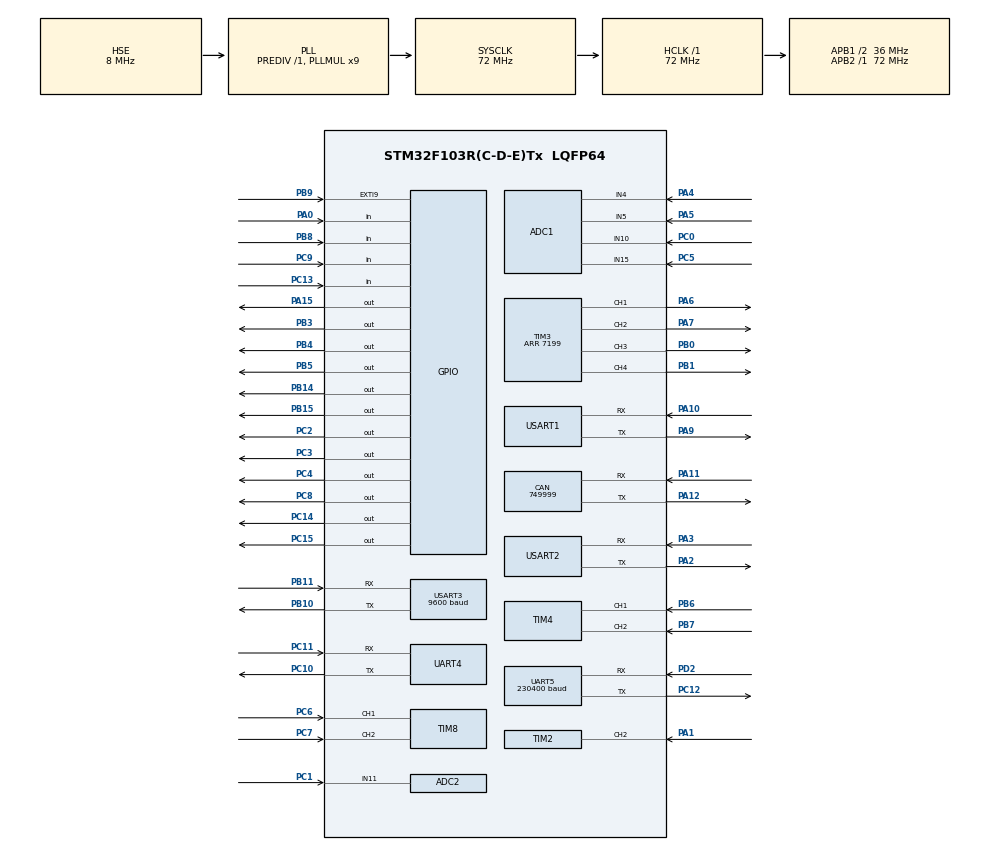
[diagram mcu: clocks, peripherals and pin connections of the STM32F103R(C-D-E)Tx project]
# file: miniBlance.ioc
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ADC1.Channel-3\#ChannelRegularConversion=ADC_CHANNEL_10
ADC1.NbrOfConversionFlag=1
ADC1.Rank-3\#ChannelRegularConversion=1
ADC1.SamplingTime-3\#ChannelRegularConversion=ADC_SAMPLETIME_1CYCLE_5
ADC1.master=1
ADC2.Channel-1\#ChannelRegularConversion=ADC_CHANNEL_11
ADC2.EnableInjectedConversion=DISABLE
ADC2.NbrOfConversionFlag=1
ADC2.Rank-1\#ChannelRegularConversion=1
ADC2.SamplingTime-1\#ChannelRegularConversion=ADC_SAMPLETIME_1CYCLE_5
CAN.CalculateBaudRate=749999
CAN.CalculateTimeBit=1333
CAN.CalculateTimeQuantum=444.44444444444446
Dma.Request0=UART4_RX
Dma.Request1=UART4_TX
Dma.Request2=USART2_RX
Dma.Request3=USART2_TX
Dma.UART4_RX.0.Direction=DMA_PERIPH_TO_MEMORY
Dma.UART4_RX.0.Instance=DMA2_Channel3
Dma.UART4_RX.0.MemDataAlignment=DMA_MDATAALIGN_BYTE
Dma.UART4_RX.0.MemInc=DMA_MINC_ENABLE
Dma.UART4_RX.0.Mode=DMA_CIRCULAR
Dma.UART4_RX.0.PeriphDataAlignment=DMA_PDATAALIGN_BYTE
Dma.UART4_RX.0.PeriphInc=DMA_PINC_DISABLE
Dma.UART4_RX.0.Priority=DMA_PRIORITY_LOW
Dma.UART4_TX.1.Direction=DMA_MEMORY_TO_PERIPH
Dma.UART4_TX.1.Instance=DMA2_Channel5
Dma.UART4_TX.1.MemDataAlignment=DMA_MDATAALIGN_BYTE
Dma.UART4_TX.1.MemInc=DMA_MINC_ENABLE
Dma.UART4_TX.1.Mode=DMA_NORMAL
Dma.UART4_TX.1.PeriphDataAlignment=DMA_PDATAALIGN_BYTE
Dma.UART4_TX.1.PeriphInc=DMA_PINC_DISABLE
Dma.UART4_TX.1.Priority=DMA_PRIORITY_LOW
Dma.USART2_RX.2.Direction=DMA_PERIPH_TO_MEMORY
Dma.USART2_RX.2.Instance=DMA1_Channel6
Dma.USART2_RX.2.MemDataAlignment=DMA_MDATAALIGN_BYTE
Dma.USART2_RX.2.MemInc=DMA_MINC_ENABLE
Dma.USART2_RX.2.Mode=DMA_CIRCULAR
Dma.USART2_RX.2.PeriphDataAlignment=DMA_PDATAALIGN_BYTE
Dma.USART2_RX.2.PeriphInc=DMA_PINC_DISABLE
Dma.USART2_RX.2.Priority=DMA_PRIORITY_LOW
Dma.USART2_TX.3.Direction=DMA_MEMORY_TO_PERIPH
Dma.USART2_TX.3.Instance=DMA1_Channel7
Dma.USART2_TX.3.MemDataAlignment=DMA_MDATAALIGN_BYTE
Dma.USART2_TX.3.MemInc=DMA_MINC_ENABLE
Dma.USART2_TX.3.Mode=DMA_NORMAL
Dma.USART2_TX.3.PeriphDataAlignment=DMA_PDATAALIGN_BYTE
Dma.USART2_TX.3.PeriphInc=DMA_PINC_DISABLE
Dma.USART2_TX.3.Priority=DMA_PRIORITY_LOW
Mcu.Family=STM32F1
Mcu.Name=STM32F103R(C-D-E)Tx
Mcu.Package=LQFP64
NVIC.ADC1_2_IRQn=true\:0\:0\:false\:false\:true\:true\:true\:true
NVIC.DMA1_Channel6_IRQn=true\:0\:0\:false\:false\:true\:true\:true\:true
NVIC.DMA1_Channel7_IRQn=true\:0\:0\:false\:false\:true\:true\:true\:true
NVIC.DMA2_Channel3_IRQn=true\:0\:0\:false\:false\:true\:true\:true\:true
NVIC.DMA2_Channel4_5_IRQn=true\:0\:0\:false\:false\:true\:true\:true\:true
NVIC.EXTI9_5_IRQn=true\:2\:1\:true\:false\:true\:true\:true\:true
NVIC.PriorityGroup=NVIC_PRIORITYGROUP_2
NVIC.TIM2_IRQn=true\:0\:0\:false\:false\:true\:true\:true\:true
NVIC.TIM4_IRQn=true\:1\:3\:true\:false\:true\:true\:true\:true
NVIC.TIM8_UP_IRQn=true\:1\:3\:true\:false\:true\:true\:true\:true
NVIC.UART4_IRQn=true\:0\:0\:false\:false\:true\:true\:true\:true
NVIC.UART5_IRQn=true\:1\:1\:true\:false\:true\:true\:true\:true
NVIC.USART1_IRQn=true\:1\:1\:true\:false\:true\:true\:true\:true
NVIC.USART2_IRQn=true\:0\:0\:false\:false\:true\:true\:true\:true
NVIC.USART3_IRQn=true\:1\:1\:true\:false\:true\:true\:true\:true
PA0-WKUP.Signal=GPIO_Input
PA1.Signal=S_TIM2_CH2
PA10.Mode=Asynchronous
PA10.Signal=USART1_RX
PA11.Mode=CAN_Activate
PA11.Signal=CAN_RX
PA12.Mode=CAN_Activate
PA12.Signal=CAN_TX
PA13.Mode=Serial_Wire
PA13.Signal=SYS_JTMS-SWDIO
PA14.Mode=Serial_Wire
PA14.Signal=SYS_JTCK-SWCLK
PA15.GPIO_Speed=GPIO_SPEED_FREQ_HIGH
PA15.Signal=GPIO_Output
PA2.Mode=Asynchronous
PA2.Signal=USART2_TX
PA3.Mode=Asynchronous
PA3.Signal=USART2_RX
PA4.Signal=ADCx_IN4
PA5.Signal=ADCx_IN5
PA6.GPIO_Speed=GPIO_SPEED_FREQ_HIGH
PA6.Signal=S_TIM3_CH1
PA7.GPIO_Speed=GPIO_SPEED_FREQ_HIGH
PA7.Signal=S_TIM3_CH2
PA9.Mode=Asynchronous
PA9.Signal=USART1_TX
PB0.GPIO_Speed=GPIO_SPEED_FREQ_HIGH
PB0.Signal=S_TIM3_CH3
PB1.GPIO_Speed=GPIO_SPEED_FREQ_HIGH
PB1.Signal=S_TIM3_CH4
PB10.Mode=Asynchronous
PB10.Signal=USART3_TX
PB11.Mode=Asynchronous
PB11.Signal=USART3_RX
PB14.Signal=GPIO_Output
PB15.Signal=GPIO_Output
PB3.PinState=GPIO_PIN_SET
PB3.Signal=GPIO_Output
PB4.PinState=GPIO_PIN_SET
PB4.Signal=GPIO_Output
PB5.PinState=GPIO_PIN_SET
PB5.Signal=GPIO_Output
PB6.Signal=S_TIM4_CH1
PB7.Signal=S_TIM4_CH2
PB8.GPIO_PuPd=GPIO_PULLUP
PB8.Signal=GPIO_Input
PB9.GPIO_ModeDefaultEXTI=GPIO_MODE_IT_FALLING
PB9.GPIO_PuPd=GPIO_PULLUP
PB9.Signal=GPXTI9
PC0.Signal=ADCx_IN10
PC1.Signal=ADCx_IN11
PC10.Mode=Asynchronous
PC10.Signal=UART4_TX
PC11.Mode=Asynchronous
PC11.Signal=UART4_RX
PC12.Mode=Asynchronous
PC12.Signal=UART5_TX
PC13-TAMPER-RTC.GPIO_Mode=GPIO_MODE_INPUT
PC13-TAMPER-RTC.GPIO_PuPd=GPIO_NOPULL
PC13-TAMPER-RTC.Signal=GPIO_Input
PC14-OSC32_IN.PinState=GPIO_PIN_SET
PC14-OSC32_IN.Signal=GPIO_Output
PC15-OSC32_OUT.Signal=GPIO_Output
PC2.Signal=GPIO_Output
PC3.Signal=GPIO_Output
PC4.PinState=GPIO_PIN_SET
PC4.Signal=GPIO_Output
PC5.Signal=ADCx_IN15
PC6.Signal=S_TIM8_CH1
PC7.Signal=S_TIM8_CH2
PC8.PinState=GPIO_PIN_SET
PC8.Signal=GPIO_Output
PC9.GPIO_PuPd=GPIO_PULLUP
PC9.Signal=GPIO_Input
PD0-OSC_IN.Mode=HSE-External-Oscillator
PD0-OSC_IN.Signal=RCC_OSC_IN
PD1-OSC_OUT.Mode=HSE-External-Oscillator
PD1-OSC_OUT.Signal=RCC_OSC_OUT
PD2.Mode=Asynchronous
PD2.Signal=UART5_RX
ProjectManager.HeapSize=0x200
ProjectManager.StackSize=0x400
ProjectManager.TargetToolchain=MDK-ARM V5.32
RCC.ADCPresc=RCC_ADCPCLK2_DIV8
RCC.AHBFreq_Value=72000000
RCC.APB1CLKDivider=RCC_HCLK_DIV2
RCC.APB1Freq_Value=36000000
RCC.APB1TimFreq_Value=72000000
RCC.APB2Freq_Value=72000000
RCC.APB2TimFreq_Value=72000000
RCC.HCLKFreq_Value=72000000
RCC.PLLMUL=RCC_PLL_MUL9
RCC.PLLSourceVirtual=RCC_PLLSOURCE_HSE
RCC.SYSCLKFreq_VALUE=72000000
RCC.SYSCLKSource=RCC_SYSCLKSOURCE_PLLCLK
RCC.USBFreq_Value=72000000
SH.ADCx_IN10.0=ADC1_IN10,IN10
SH.ADCx_IN11.0=ADC2_IN11,IN11
SH.ADCx_IN15.0=ADC1_IN15,IN15
SH.ADCx_IN4.0=ADC1_IN4,IN4
SH.ADCx_IN5.0=ADC1_IN5,IN5
SH.S_TIM2_CH2.0=TIM2_CH2,Input_Capture2_from_TI2
SH.S_TIM3_CH1.0=TIM3_CH1,PWM Generation1 CH1
SH.S_TIM3_CH2.0=TIM3_CH2,PWM Generation2 CH2
SH.S_TIM3_CH3.0=TIM3_CH3,PWM Generation3 CH3
SH.S_TIM3_CH4.0=TIM3_CH4,PWM Generation4 CH4
SH.S_TIM4_CH1.0=TIM4_CH1,Encoder_Interface
SH.S_TIM4_CH2.0=TIM4_CH2,Encoder_Interface
SH.S_TIM8_CH1.0=TIM8_CH1,Encoder_Interface
SH.S_TIM8_CH2.0=TIM8_CH2,Encoder_Interface
TIM2.Channel-Input_Capture2_from_TI2=TIM_CHANNEL_2
TIM2.ICPolarity_CH2=TIM_INPUTCHANNELPOLARITY_RISING
TIM2.TIM_MasterOutputTrigger=TIM_TRGO_OC1
TIM3.AutoReloadPreload=TIM_AUTORELOAD_PRELOAD_ENABLE
TIM3.Channel-PWM\ Generation1\ CH1=TIM_CHANNEL_1
TIM3.Channel-PWM\ Generation2\ CH2=TIM_CHANNEL_2
TIM3.Channel-PWM\ Generation3\ CH3=TIM_CHANNEL_3
TIM3.Channel-PWM\ Generation4\ CH4=TIM_CHANNEL_4
TIM3.Period=7199
TIM4.AutoReloadPreload=TIM_AUTORELOAD_PRELOAD_ENABLE
TIM4.EncoderMode=TIM_ENCODERMODE_TI12
TIM4.IC1Filter=10
TIM4.IC2Filter=10
TIM8.AutoReloadPreload=TIM_AUTORELOAD_PRELOAD_ENABLE
TIM8.EncoderMode=TIM_ENCODERMODE_TI12
TIM8.IC1Filter=10
TIM8.IC2Filter=10
UART4.VirtualMode=Asynchronous
UART5.BaudRate=230400
UART5.VirtualMode=Asynchronous
USART1.VirtualMode=VM_ASYNC
USART2.VirtualMode=VM_ASYNC
USART3.BaudRate=9600
USART3.VirtualMode=VM_ASYNC
board=custom

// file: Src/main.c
/* USER CODE BEGIN Header */
/**
  ******************************************************************************
  * @file           : main.c
  * @brief          : Main program body
  ******************************************************************************
  * @attention
  *
  * <h2><center>&copy; Copyright (c) 2022 STMicroelectronics.
  * All rights reserved.</center></h2>
  *
  * This software component is licensed by ST under BSD 3-Clause license,
  * the "License"; You may not use this file except in compliance with the
  * License. You may obtain a copy of the License at:
  *                        opensource.org/licenses/BSD-3-Clause
  *
  ******************************************************************************
  */
/* USER CODE END Header */
#include "main.h"
#include "adc.h"
#include "can.h"
#include "dma.h"
#include "tim.h"
#include "usart.h"
#include "gpio.h"

/* USER CODE BEGIN PM */
u8 Ros_count=0,Ros_Rate = 0;                            //ROS发送数据的频率是10HZ，而中断在5ms一次就会把小车的移动的数据清0，这是为了让ros端控制小车运动的更加顺畅的一个计数参数
u8  Pick_up_stop=0;                         //检查是否被拿起标志位
int Middle_angle = -2;                           //机械中值默认为0
u16 Get_Voltage;                            //电池电压
u8 Way_Angle=2;                             //获取角度的算法，1：四元数  2：卡尔曼  3：互补滤波
u16 Flag_front,Flag_back,Flag_Left,Flag_Right,Flag_velocity=2,Target_Velocity=300; //蓝牙遥控相关的变量
float RC_Velocity,RC_Turn_Velocity;			//遥控控制的速度
u8 Flag_Stop=1,Flag_Show=0;                 //电机停止标志位和显示标志位  默认停止 显示打开
u32 speed_left;
u32 speed_right;
u8 PS2_ON_Flag = 0,Usart1_ON_Flag,PID_Send;		//默认所有方式不控制
u8 Mode = 0;								                //模式选择，默认是普通的控制模式
float Move_X,Move_Z;                          //控制小车避障、跟随时前进的变量，转弯的变量
u16 determine;
int Encoder_Left,Encoder_Right;             					//左右编码器的脉冲计数
int Motor_Left,Motor_Right;                 //电机PWM变量 应是Motor的 向Moto致敬
int Temperature;                            //温度变量
int Voltage;                                //电池电压采样相关的变量
float Angle_Balance,Gyro_Balance,Gyro_Turn; //平衡倾角 平衡陀螺仪 转向陀螺仪
u32 Distance;                               //雷达测距
volatile u8 delay_50,delay_flag; 						//延时和调参相关变量
u8 Flag_follow=0,Flag_avoid=0,Flag_straight=0;							//雷达跟随、雷达避障标志位
u8 Lidar_Detect = Lidar_Detect_ON;			    //巡线模式雷达检测障碍物，默认开启
float Acceleration_Z;                       //Z轴加速度计
u8 CCD_Zhongzhi,CCD_Yuzhi;                  //线性CCD相关
float Balance_Kp=20000,Balance_Kd=10,Velocity_Kp=220,Velocity_Ki=1,Turn_Kp=3200,Turn_Kd=10;//PID参数（放大100倍）110 100
float Distance_KP =250,Distance_KD =0 ;	//距离调整PID参数//10000
uint8_t Init_Finished_Flag = 0;
/* USER CODE END PM */

void SystemClock_Config(void);

int main(void)
{

  /* MCU Configuration--------------------------------------------------------*/

  /* Reset of all peripherals, Initializes the Flash interface and the Systick. */
  HAL_Init();

  /* Configure the system clock */
  SystemClock_Config();

  /* Initialize all configured peripherals */
  MX_GPIO_Init();
  MX_DMA_Init();
  MX_ADC1_Init();
  MX_ADC2_Init();
  MX_TIM3_Init();
  MX_TIM4_Init();
  MX_TIM8_Init();
  MX_UART5_Init();
  MX_USART1_UART_Init();
  MX_USART3_UART_Init();
  MX_TIM2_Init();
  MX_CAN_Init();
  MX_UART4_Init();
  MX_USART2_UART_Init();
  /* USER CODE BEGIN 2 */
	HAL_NVIC_DisableIRQ(EXTI9_5_IRQn);//原本由CubeMX工具生成的代码中存在HAL_NVIC_EnableIRQ(EXTI9_5_IRQn) 由于生成的代码总在用户代码之上，而这个中断是需要所有的外设初始化完毕最后才能开启的，所以在这里先失能，在所有外设初始化完成后再使能
	JTAG_Set(JTAG_SWD_DISABLE);     //关闭JTAG接口
	JTAG_Set(SWD_ENABLE);           //打开SWD接口 可以利用主板的SWD接口调试
  delay_init();                   //延迟函数初始化
  OLED_Init();                    //OLED初始化
  MPU6050_initialize();           //MPU6050初始化
	DMP_Init();                     //初始化DMP
	Init_Finished_Flag = 1;
  HAL_NVIC_EnableIRQ(EXTI9_5_IRQn); //开启引脚外部中断
  /* USER CODE END 2 */

  /* Infinite loop */
  /* USER CODE BEGIN WHILE */
  while (1)
  {
		if(Flag_Show==0)          		//使用MiniBalance APP和OLED显示屏
		{
			 APP_Show();								//发送数据给APP
			 oled_show();          			//显示屏打开
			 PS2_Read();								//手柄数据读取
		}
		else                      		//使用MiniBalance上位机 上位机使用的时候需要严格的时序，故此时关闭app监控部分和OLED显示屏
		{
			 DataScope();          			//开启MiniBalance上位机
		}
		delay_flag=1;
		delay_50=0;
		while(delay_flag);		//示波器需要50ms	高精度延时，delay函数不满足要求，故使用MPU6050中断提供50ms延时
    /* USER CODE END WHILE */

  }
}

void SystemClock_Config(void)
{
  RCC_OscInitTypeDef RCC_OscInitStruct = {0};
  RCC_ClkInitTypeDef RCC_ClkInitStruct = {0};
  RCC_PeriphCLKInitTypeDef PeriphClkInit = {0};

  /** Initializes the RCC Oscillators according to the specified parameters
  * in the RCC_OscInitTypeDef structure.
  */
  RCC_OscInitStruct.OscillatorType = RCC_OSCILLATORTYPE_HSE;
  RCC_OscInitStruct.HSEState = RCC_HSE_ON;
  RCC_OscInitStruct.HSEPredivValue = RCC_HSE_PREDIV_DIV1;
  RCC_OscInitStruct.HSIState = RCC_HSI_ON;
  RCC_OscInitStruct.PLL.PLLState = RCC_PLL_ON;
  RCC_OscInitStruct.PLL.PLLSource = RCC_PLLSOURCE_HSE;
  RCC_OscInitStruct.PLL.PLLMUL = RCC_PLL_MUL9;
  if (HAL_RCC_OscConfig(&RCC_OscInitStruct) != HAL_OK)
  {
    Error_Handler();
  }

  /** Initializes the CPU, AHB and APB buses clocks
  */
  RCC_ClkInitStruct.ClockType = RCC_CLOCKTYPE_HCLK|RCC_CLOCKTYPE_SYSCLK
                              |RCC_CLOCKTYPE_PCLK1|RCC_CLOCKTYPE_PCLK2;
  RCC_ClkInitStruct.SYSCLKSource = RCC_SYSCLKSOURCE_PLLCLK;
  RCC_ClkInitStruct.AHBCLKDivider = RCC_SYSCLK_DIV1;
  RCC_ClkInitStruct.APB1CLKDivider = RCC_HCLK_DIV2;
  RCC_ClkInitStruct.APB2CLKDivider = RCC_HCLK_DIV1;

  if (HAL_RCC_ClockConfig(&RCC_ClkInitStruct, FLASH_LATENCY_2) != HAL_OK)
  {
    Error_Handler();
  }
  PeriphClkInit.PeriphClockSelection = RCC_PERIPHCLK_ADC;
  PeriphClkInit.AdcClockSelection = RCC_ADCPCLK2_DIV8;
  if (HAL_RCCEx_PeriphCLKConfig(&PeriphClkInit) != HAL_OK)
  {
    Error_Handler();
  }
}

void Error_Handler(void)
{
  __disable_irq();
  while (1)
  {
  }
}
